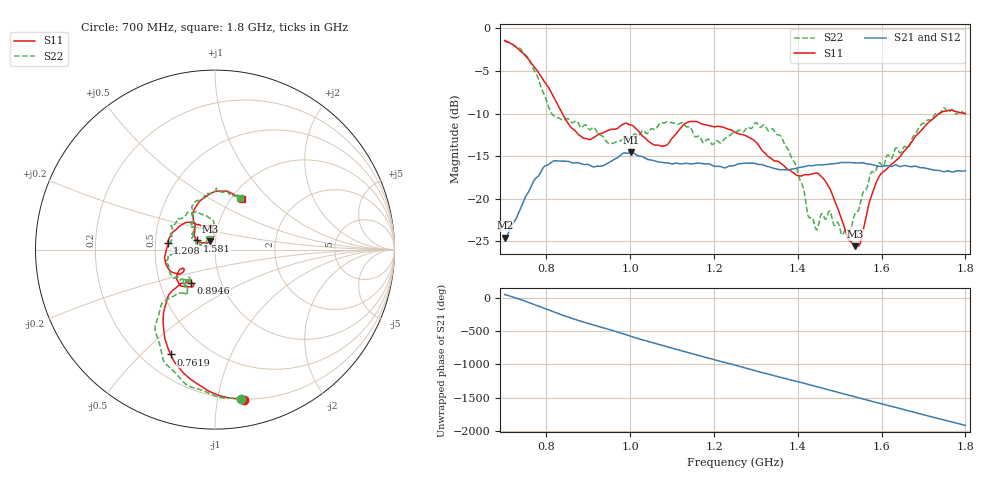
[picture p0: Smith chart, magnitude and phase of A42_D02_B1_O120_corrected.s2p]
! Created with skrf 1.9.0 (http://scikit-rf.org).
# Hz S RI R 50.0
!freq ReS11 ImS11 ReS21 ImS21 ReS12 ImS12 ReS22 ImS22
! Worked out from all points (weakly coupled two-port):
!   1601 points, 700 MHz to 1.8 GHz, reference 50 ohm
!   highest |S21| = -14.55 dB at 1.002 GHz (marker M1); lowest = -24.6 dB at 700.7 MHz (marker M2)
!   lowest |S11| = -25.6 dB at 1.537 GHz (marker M3), VSWR 1.11, Z = 47.3 + j4.34 ohm
!   |S11| at or under -10 dB: 838 MHz to 1.737 GHz (898.5 MHz wide, 69.8 % of centre); 1.799838 GHz to end of sweep
!   |S22| runs from -24.3 to -1.5 dB; largest |S21 - S12| = 0.0034
!   S11 on the Smith chart (normalised r, x): 700 MHz: 0.20, -1.19; 761.9 MHz: 0.32, -0.62; 894.6 MHz: 0.72, -0.28; 1.208 GHz: 0.58, +0.05; 1.581 GHz: 0.81, +0.08; 1.8 GHz: 1.12, +0.70
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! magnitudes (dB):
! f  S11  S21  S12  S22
! 700 MHz  -1.4  -24.6  -24.3  -1.5
! 700.7 MHz  -1.4  -24.6  -24.3  -1.5
! 761.9 MHz  -4.0  -18.7  -18.7  -4.0
! 814.8 MHz  -7.8  -15.6  -15.7  -10.1
! 883.6 MHz  -12.7  -15.9  -15.8  -11.6
! 894.6 MHz  -12.9  -15.9  -16.0  -11.4
! 950.9 MHz  -11.9  -15.7  -15.7  -13.5
! 1.002 GHz  -11.3  -14.5  -14.7  -12.8
! 1.067 GHz  -13.7  -15.7  -15.6  -11.4
! 1.139 GHz  -11.0  -15.9  -15.8  -11.5
! 1.208 GHz  -11.5  -16.2  -16.2  -13.2
! 1.25 GHz  -12.2  -16.1  -16.0  -12.2
! 1.359 GHz  -15.8  -16.6  -16.6  -12.6
! 1.434 GHz  -17.1  -16.1  -16.1  -22.2
! 1.469 GHz  -18.2  -16.0  -15.9  -22.2
! 1.507 GHz  -22.8  -15.7  -15.7  -24.2
! 1.537 GHz  -25.6  -15.8  -15.8  -21.7
! 1.55 GHz  -25.1  -15.8  -15.8  -20.4
! 1.581 GHz  -18.9  -16.0  -16.0  -16.9
! 1.617 GHz  -16.3  -16.1  -16.1  -14.9
! 1.737 GHz  -10.0  -16.7  -16.7  -10.1
! 1.8 GHz  -10.0  -16.7  -16.7  -10.0
